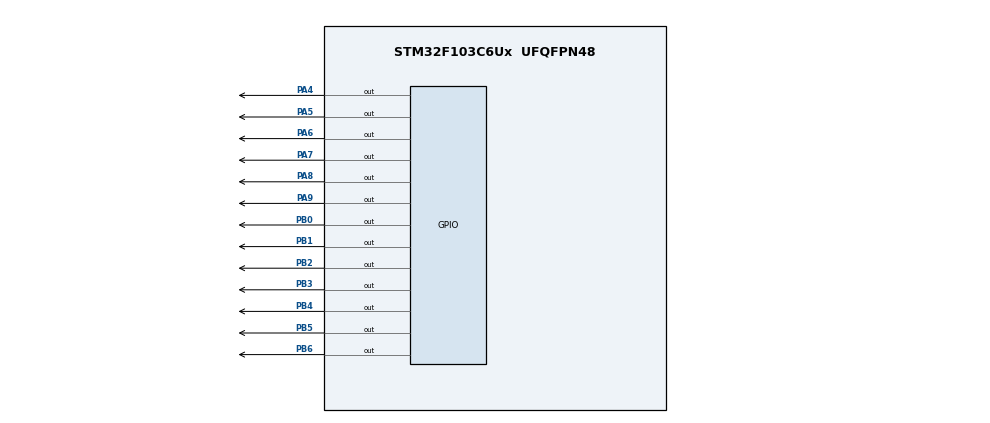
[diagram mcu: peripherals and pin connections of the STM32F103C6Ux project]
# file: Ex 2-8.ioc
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Mcu.Family=STM32F1
Mcu.Name=STM32F103C6Ux
Mcu.Package=UFQFPN48
NVIC.PriorityGroup=NVIC_PRIORITYGROUP_4
NVIC.TIM2_IRQn=true\:0\:0\:false\:false\:true\:true\:true
PA4.Signal=GPIO_Output
PA5.Signal=GPIO_Output
PA6.Signal=GPIO_Output
PA7.Signal=GPIO_Output
PA8.Signal=GPIO_Output
PA9.Signal=GPIO_Output
PB0.Signal=GPIO_Output
PB1.Signal=GPIO_Output
PB2.Signal=GPIO_Output
PB3.Signal=GPIO_Output
PB4.Signal=GPIO_Output
PB5.Signal=GPIO_Output
PB6.Signal=GPIO_Output
ProjectManager.HeapSize=0x200
ProjectManager.StackSize=0x400
ProjectManager.TargetToolchain=STM32CubeIDE
RCC.APB1Freq_Value=8000000
RCC.APB2Freq_Value=8000000
TIM2.Period=9
TIM2.Prescaler=7999
VP_SYS_VS_ND.Mode=No_Debug
VP_TIM2_VS_ClockSourceINT.Mode=Internal
board=custom

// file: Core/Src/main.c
/* USER CODE BEGIN Header */
/**
  ******************************************************************************
  * @file           : main.c
  * @brief          : Main program body
  ******************************************************************************
  * @attention
  *
  * <h2><center>&copy; Copyright (c) 2026 STMicroelectronics.
  * All rights reserved.</center></h2>
  *
  * This software component is licensed by ST under BSD 3-Clause license,
  * the "License"; You may not use this file except in compliance with the
  * License. You may obtain a copy of the License at:
  *                        opensource.org/licenses/BSD-3-Clause
  *
  ******************************************************************************
  */
/* USER CODE END Header */
#include "main.h"

TIM_HandleTypeDef htim2;

/* USER CODE BEGIN PV */
int hour = 15, minute = 8, second = 50;
const int MAX_LED = 4;
int led_buffer[4] = {1, 3, 4, 9};
//int timer_led_counter = 50;
int timer_led_counter = 25;
int timer_dot_counter = 100;
int index_led = 0;
/* USER CODE END PV */

void SystemClock_Config(void);
static void MX_TIM2_Init(void);
static void MX_GPIO_Init(void);

/* USER CODE BEGIN 0 */
uint8_t segment_code[10] = {
    0xC0,
    0xF9,
    0xA4,
    0xB0,
    0x99,
    0x92,
    0x82,
    0xF8,
    0x80,
    0x90
};

void display7SEG(int num) {
    if (num < 0 || num > 9) return;
    uint8_t code = segment_code[num];
    for (int i = 0; i < 7; i++) {
        HAL_GPIO_WritePin(GPIOB, GPIO_PIN_0 << i, (code >> i) & 0x01);
    }
}

int timer0_counter = 0;
int timer0_flag = 0;
int timer1_counter = 0;
int timer1_flag = 0;
int TIMER_CYCLE = 10;

void setTimer0(int duration) {
    timer0_counter = duration / TIMER_CYCLE;
    timer0_flag = 0;
}

void setTimer1(int duration) {
    timer1_counter = duration / TIMER_CYCLE;
    timer1_flag = 0;
}

void timer_run(void) {
    if (timer0_counter > 0) {
        timer0_counter--;
        if (timer0_counter == 0) timer0_flag = 1;
    }

    if (timer1_counter > 0) {
        timer1_counter--;
        if (timer1_counter == 0) timer1_flag = 1;
    }
}
/* USER CODE END 0 */

int main(void)
{

  /* MCU Configuration--------------------------------------------------------*/

  /* Reset of all peripherals, Initializes the Flash interface and the Systick. */
  HAL_Init();

  /* Configure the system clock */
  SystemClock_Config();

  /* Initialize all configured peripherals */
  MX_TIM2_Init();
  MX_GPIO_Init();
  /* USER CODE BEGIN 2 */
  HAL_TIM_Base_Start_IT(&htim2);
  /* USER CODE END 2 */

  /* Infinite loop */
  /* USER CODE BEGIN WHILE */
  setTimer0(1000);
  setTimer1(250);
  while (1)
  {
    /* Ex 5 */
	second++;
	  if (second >= 60) {
	    second = 0;
	    minute++;
	  if (minute >= 60) {
	    minute = 0;
	    hour++;
	  if (hour >= 24) {
	    hour = 0;
	  }
   }
}

    updateClockBuffer();
    HAL_GPIO_TogglePin(GPIOA, GPIO_PIN_4);

    HAL_Delay(1000);

    /* Ex 6 */
//    if( timer0_flag == 1) {
//     HAL_GPIO_TogglePin ( GPIOA, GPIO_PIN_5 ) ;
//     setTimer0 (2000) ;
//    }

	/* Ex 7 */
//	  if (timer0_flag == 1) {
//	      setTimer0(1000);
//	      second++;
//	      if (second >= 60) {
//	          second = 0;
//	          minute++;
//	          if (minute >= 60) {
//	             minute = 0;
//	             hour++;
//	             if (hour >= 24) {
//	                 hour = 0;
//	             }
//	          }
//	      }
//
//	          updateClockBuffer();
//	          HAL_GPIO_TogglePin(GPIOA, GPIO_PIN_4);
//	  }

   /* Ex 8 */
//	  if (timer1_flag == 1) {
//	      setTimer1(250);
//	      update7SEG(index_led);
//	      index_led = (index_led + 1) % MAX_LED;
//	  }
//	  if (timer0_flag == 1) {
//	      setTimer0(1000);
//	      second++;
//	      if (second >= 60) {
//	          second = 0;
//	          minute++;
//	          if (minute >= 60) {
//	             minute = 0;
//	             hour++;
//	             if (hour >= 24) {
//	                 hour = 0;
//	             }
//	          }
//	      }
//
//	          updateClockBuffer();
//	          HAL_GPIO_TogglePin(GPIOA, GPIO_PIN_4);
//	  }

    /* USER CODE END WHILE */

  }
}

void SystemClock_Config(void)
{
  RCC_OscInitTypeDef RCC_OscInitStruct = {0};
  RCC_ClkInitTypeDef RCC_ClkInitStruct = {0};

  /** Initializes the RCC Oscillators according to the specified parameters
  * in the RCC_OscInitTypeDef structure.
  */
  RCC_OscInitStruct.OscillatorType = RCC_OSCILLATORTYPE_HSI;
  RCC_OscInitStruct.HSIState = RCC_HSI_ON;
  RCC_OscInitStruct.HSICalibrationValue = RCC_HSICALIBRATION_DEFAULT;
  RCC_OscInitStruct.PLL.PLLState = RCC_PLL_NONE;
  if (HAL_RCC_OscConfig(&RCC_OscInitStruct) != HAL_OK)
  {
    Error_Handler();
  }
  /** Initializes the CPU, AHB and APB buses clocks
  */
  RCC_ClkInitStruct.ClockType = RCC_CLOCKTYPE_HCLK|RCC_CLOCKTYPE_SYSCLK
                              |RCC_CLOCKTYPE_PCLK1|RCC_CLOCKTYPE_PCLK2;
  RCC_ClkInitStruct.SYSCLKSource = RCC_SYSCLKSOURCE_HSI;
  RCC_ClkInitStruct.AHBCLKDivider = RCC_SYSCLK_DIV1;
  RCC_ClkInitStruct.APB1CLKDivider = RCC_HCLK_DIV1;
  RCC_ClkInitStruct.APB2CLKDivider = RCC_HCLK_DIV1;

  if (HAL_RCC_ClockConfig(&RCC_ClkInitStruct, FLASH_LATENCY_0) != HAL_OK)
  {
    Error_Handler();
  }
}

static void MX_TIM2_Init(void)
{

  TIM_ClockConfigTypeDef sClockSourceConfig = {0};
  TIM_MasterConfigTypeDef sMasterConfig = {0};

  htim2.Instance = TIM2;
  htim2.Init.Prescaler = 7999;
  htim2.Init.CounterMode = TIM_COUNTERMODE_UP;
  htim2.Init.Period = 9;
  htim2.Init.ClockDivision = TIM_CLOCKDIVISION_DIV1;
  htim2.Init.AutoReloadPreload = TIM_AUTORELOAD_PRELOAD_DISABLE;
  if (HAL_TIM_Base_Init(&htim2) != HAL_OK)
  {
    Error_Handler();
  }
  sClockSourceConfig.ClockSource = TIM_CLOCKSOURCE_INTERNAL;
  if (HAL_TIM_ConfigClockSource(&htim2, &sClockSourceConfig) != HAL_OK)
  {
    Error_Handler();
  }
  sMasterConfig.MasterOutputTrigger = TIM_TRGO_RESET;
  sMasterConfig.MasterSlaveMode = TIM_MASTERSLAVEMODE_DISABLE;
  if (HAL_TIMEx_MasterConfigSynchronization(&htim2, &sMasterConfig) != HAL_OK)
  {
    Error_Handler();
  }

}

static void MX_GPIO_Init(void)
{
  GPIO_InitTypeDef GPIO_InitStruct = {0};

  /* GPIO Ports Clock Enable */
  __HAL_RCC_GPIOA_CLK_ENABLE();
  __HAL_RCC_GPIOB_CLK_ENABLE();

  /*Configure GPIO pin Output Level */
  HAL_GPIO_WritePin(GPIOA, GPIO_PIN_4|GPIO_PIN_5|GPIO_PIN_6|GPIO_PIN_7
                          |GPIO_PIN_8|GPIO_PIN_9, GPIO_PIN_RESET);

  /*Configure GPIO pin Output Level */
  HAL_GPIO_WritePin(GPIOB, GPIO_PIN_0|GPIO_PIN_1|GPIO_PIN_2|GPIO_PIN_3
                          |GPIO_PIN_4|GPIO_PIN_5|GPIO_PIN_6, GPIO_PIN_RESET);

  /*Configure GPIO pins : PA4 PA5 PA6 PA7
                           PA8 PA9 */
  GPIO_InitStruct.Pin = GPIO_PIN_4|GPIO_PIN_5|GPIO_PIN_6|GPIO_PIN_7
                          |GPIO_PIN_8|GPIO_PIN_9;
  GPIO_InitStruct.Mode = GPIO_MODE_OUTPUT_PP;
  GPIO_InitStruct.Pull = GPIO_NOPULL;
  GPIO_InitStruct.Speed = GPIO_SPEED_FREQ_LOW;
  HAL_GPIO_Init(GPIOA, &GPIO_InitStruct);

  /*Configure GPIO pins : PB0 PB1 PB2 PB3
                           PB4 PB5 PB6 */
  GPIO_InitStruct.Pin = GPIO_PIN_0|GPIO_PIN_1|GPIO_PIN_2|GPIO_PIN_3
                          |GPIO_PIN_4|GPIO_PIN_5|GPIO_PIN_6;
  GPIO_InitStruct.Mode = GPIO_MODE_OUTPUT_PP;
  GPIO_InitStruct.Pull = GPIO_NOPULL;
  GPIO_InitStruct.Speed = GPIO_SPEED_FREQ_LOW;
  HAL_GPIO_Init(GPIOB, &GPIO_InitStruct);

}

/* USER CODE BEGIN 4 */
void clearAllLEDs(void) {
    HAL_GPIO_WritePin(GPIOA, GPIO_PIN_6, GPIO_PIN_SET);
    HAL_GPIO_WritePin(GPIOA, GPIO_PIN_7, GPIO_PIN_SET);
    HAL_GPIO_WritePin(GPIOA, GPIO_PIN_8, GPIO_PIN_SET);
    HAL_GPIO_WritePin(GPIOA, GPIO_PIN_9, GPIO_PIN_SET);
}

void update7SEG(int index) {
    clearAllLEDs();

    switch (index) {
        case 0:
            display7SEG(led_buffer[0]);
            HAL_GPIO_WritePin(GPIOA, GPIO_PIN_6, GPIO_PIN_RESET);
            break;
        case 1:
            display7SEG(led_buffer[1]);
            HAL_GPIO_WritePin(GPIOA, GPIO_PIN_7, GPIO_PIN_RESET);
            break;
        case 2:
            display7SEG(led_buffer[2]);
            HAL_GPIO_WritePin(GPIOA, GPIO_PIN_8, GPIO_PIN_RESET);
            break;
        case 3:
            display7SEG(led_buffer[3]);
            HAL_GPIO_WritePin(GPIOA, GPIO_PIN_9, GPIO_PIN_RESET);
            break;
        default:
            break;
    }
}

void updateClockBuffer(void) {
    led_buffer[0] = hour / 10;
    led_buffer[1] = hour % 10;
    led_buffer[2] = minute / 10;
    led_buffer[3] = minute % 10;
}
/* Ex 2 */

//void HAL_TIM_PeriodElapsedCallback(TIM_HandleTypeDef *htim) {
//    if (htim->Instance == TIM2) {
//
//        timer_dot_counter--;
//        if (timer_dot_counter <= 0) {
//            timer_dot_counter = 100;
//            HAL_GPIO_TogglePin(GPIOA, GPIO_PIN_4);
//        }
//
//        timer_led_counter--;
//        if (timer_led_counter <= 0) {
//            timer_led_counter = 50;
//
//            clearAllLEDs();
//
//            switch (index_led) {
//                case 0:
//                    display7SEG(1);
//                    HAL_GPIO_WritePin(GPIOA, GPIO_PIN_6, GPIO_PIN_RESET);
//                    index_led = 1;
//                    break;
//                case 1:
//                    display7SEG(2);
//                    HAL_GPIO_WritePin(GPIOA, GPIO_PIN_7, GPIO_PIN_RESET);
//                    index_led = 2;
//                    break;
//                case 2:
//                    display7SEG(3);
//                    HAL_GPIO_WritePin(GPIOA, GPIO_PIN_8, GPIO_PIN_RESET);
//                    index_led = 3;
//                    break;
//                case 3:
//                    display7SEG(0);
//                    HAL_GPIO_WritePin(GPIOA, GPIO_PIN_9, GPIO_PIN_RESET);
//                    index_led = 0;
//                    break;
//                default:
//                    index_led = 0;
//                    break;
//            }
//        }
//    }
//}

/* Ex 3, 4 */

//void HAL_TIM_PeriodElapsedCallback(TIM_HandleTypeDef *htim) {
//    if (htim->Instance == TIM2) {
//
//        timer_dot_counter--;
//        if (timer_dot_counter <= 0) {
//            timer_dot_counter = 100;
//            HAL_GPIO_TogglePin(GPIOA, GPIO_PIN_4);
//        }
//
//        timer_led_counter--;
//        if (timer_led_counter <= 0) {
////            timer_led_counter = 50;
//            timer_led_counter = 25;
//
//            update7SEG(index_led);
//
//            index_led++;
//            if (index_led >= MAX_LED) {
//                index_led = 0;
//            }
//        }
//    }
//}

/* Ex 5 */

void HAL_TIM_PeriodElapsedCallback(TIM_HandleTypeDef *htim) {
    if (htim->Instance == TIM2) {
        timer_led_counter--;
        if (timer_led_counter <= 0) {
            timer_led_counter = 25;

            update7SEG(index_led);

            index_led++;
            if (index_led >= MAX_LED) {
                index_led = 0;
            }
        }
    }
}

/* Ex 6, 8 */
//void HAL_TIM_PeriodElapsedCallback(TIM_HandleTypeDef *htim) {
//    if (htim->Instance == TIM2) {
//        timer_run();
//    }
//}

/* Ex 7 */
//void HAL_TIM_PeriodElapsedCallback(TIM_HandleTypeDef *htim) {
//    if (htim->Instance == TIM2) {
//        timer_run();
//
//        timer_led_counter--;
//        if (timer_led_counter <= 0) {
//            timer_led_counter = 25;
//            update7SEG(index_led);
//
//            index_led++;
//            if (index_led >= MAX_LED) {
//            	index_led = 0;
//            }
//        }
//    }
//}
/* USER CODE END 4 */

void Error_Handler(void)
{
  __disable_irq();
  while (1)
  {
  }
}

/************************ (C) COPYRIGHT STMicroelectronics *****END OF FILE****/
